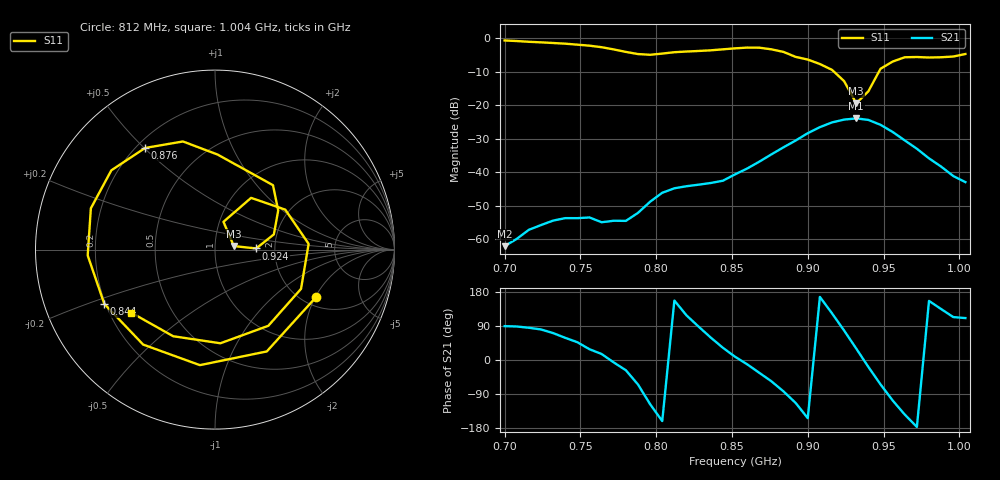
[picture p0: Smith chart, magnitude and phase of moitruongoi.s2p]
# Hz S RI R 50
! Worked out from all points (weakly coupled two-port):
!   39 points, 700 MHz to 1.004 GHz, reference 50 ohm
!   highest |S21| = -23.93 dB at 932 MHz (marker M1); lowest = -62.2 dB at 700 MHz (marker M2)
!   lowest |S11| = -19.4 dB at 932 MHz (marker M3), VSWR 1.24, Z = 61.7 + j2.43 ohm
!   |S11| at or under -10 dB: 917.4 MHz to 946.9 MHz (29.5 MHz wide, 3.16 % of centre)
!   S12 and S22 are empty: the file has one direction only
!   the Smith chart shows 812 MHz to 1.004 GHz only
!   S11 on the Smith chart (normalised r, x): 812 MHz: 2.35, -2.03; 844 MHz: 0.20, -0.22; 876 MHz: 0.23, +0.50; 924 MHz: 1.60, +0.02; 1.004 GHz: 0.29, -0.31
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7e8  0.7674 0.5295  8.91e-06 0.000779  0 0  0 0
7.24e8  0.8333 -0.2608  0.000262 0.00159  0 0  0 0
7.4e8  0.4508 -0.702  0.00107 0.00175  0 0  0 0
7.56e8  -0.1895 -0.7556  0.00184 0.000998  0 0  0 0
7.72e8  -0.653 -0.2063  0.00186 -0.000207  0 0  0 0
7.8e8  -0.5908 0.2134  0.00166 -0.000848  0 0  0 0
7.88e8  -0.2566 0.5242  0.00105 -0.00222  0 0  0 0
7.96e8  0.229 0.5213  -0.00162 -0.00322  0 0  0 0
8.04e8  0.5624 0.1881  -0.00464 -0.00158  0 0  0 0
8.12e8  0.563 -0.2647  -0.00527 0.00225  0 0  0 0
8.28e8  -0.0841 -0.6438  0.000221 0.00648  0 0  0 0
8.44e8  -0.6169 -0.3021  0.00628 0.00397  0 0  0 0
8.52e8  -0.7093 -0.0325  0.00913 0.0014  0 0  0 0
8.76e8  -0.3891 0.5664  0.0103 -0.0153  0 0  0 0
9e8  0.323 0.3589  -0.0342 -0.0171  0 0  0 0
9.08e8  0.3521 0.2177  -0.0457 0.011  0 0  0 0
9.24e8  0.2294 0.00649  0.013 0.0596  0 0  0 0
9.32e8  0.105 0.0195  0.055 0.0319  0 0  0 0
9.56e8  0.3916 0.2227  -0.0115 -0.0382  0 0  0 0
9.72e8  0.4792 -0.2189  -0.0223 -0.00131  0 0  0 0
9.88e8  0.0301 -0.5219  -0.00846 0.00862  0 0  0 0
1.004e9  -0.4676 -0.3508  -0.0025 0.00662  0 0  0 0
